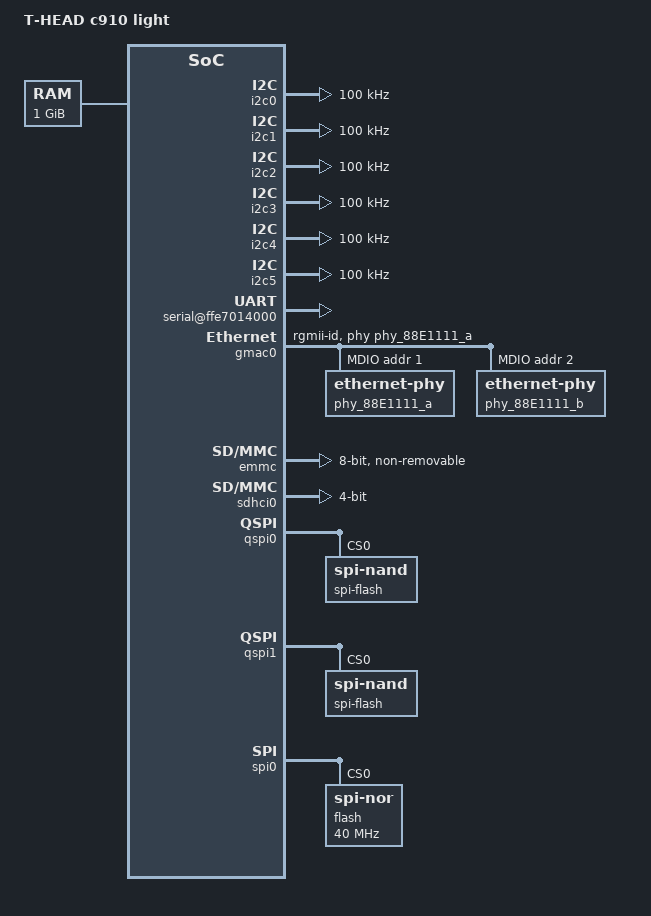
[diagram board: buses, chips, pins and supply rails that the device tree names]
/dts-v1/;
/ {
	model = "T-HEAD c910 light";
	compatible = "thead,c910_light";
	#address-cells = <2>;
	#size-cells = <2>;

	memory@0 {
		device_type = "memory";
		reg = <0x0 0xc0000000 0x0 0x40000000>;
	};

	aliases {
		spi0 = &spi0;
		spi1 = &qspi0;
		spi2 = &qspi1;
	};

	cpus {
		#address-cells = <1>;
		#size-cells = <0>;
		timebase-frequency = <3000000>;
		u-boot,dm-pre-reloc;
		cpu@0 {
			device_type = "cpu";
			reg = <0>;
			status = "okay";
			compatible = "riscv";
			riscv,isa = "rv64imafdcvsu";
			mmu-type = "riscv,sv39";
			u-boot,dm-pre-reloc;
		};
	};

	soc {
		#address-cells = <2>;
		#size-cells = <2>;
		compatible = "simple-bus";
		ranges;
		u-boot,dm-pre-reloc;

		dummy_apb: apb-clock {
			compatible = "fixed-clock";
			clock-frequency = <62500000>;
			clock-output-names = "dummy_apb";
			#clock-cells = <0>;
			u-boot,dm-pre-reloc;
		};

		dummy_ahb: ahb-clock {
			compatible = "fixed-clock";
			clock-frequency = <250000000>;
			clock-output-names = "core";
			#clock-cells = <0>;
			u-boot,dm-pre-reloc;
		};

		dummy_spi: spi-clock {
			compatible = "fixed-clock";
			clock-frequency = <396000000>;
			clock-output-names = "dummy_spi";
			#clock-cells = <0>;
			u-boot,dm-pre-reloc;
		};

		dummy_qspi0: qspi0-clock {
			compatible = "fixed-clock";
			clock-frequency = <792000000>;
			clock-output-names = "dummy_qspi0";
			#clock-cells = <0>;
			u-boot,dm-pre-reloc;
		};

		dummy_uart_sclk: uart-sclk-clock {
			compatible = "fixed-clock";
			clock-frequency = <100000000>;
			clock-output-names = "dummy_uart_sclk";
			#clock-cells = <0>;
			u-boot,dm-pre-reloc;
		};

		dummy_i2c_icclk: i2c-icclk-clock {
			compatible = "fixed-clock";
			clock-frequency = <50000000>;
			clock-output-names = "dummy_i2c_icclk";
			#clock-cells = <0>;
			u-boot,dm-pre-reloc;
		};

		i2c0: i2c@ffe7f20000 {
			compatible = "snps,designware-i2c";
			reg = <0xff 0xe7f20000 0x0 0x4000>;
			clocks = <&dummy_i2c_icclk>;
			clock-frequency = <100000>;

			#address-cells = <1>;
			#size-cells = <0>;
		};

		i2c1: i2c@ffe7f24000{
			compatible = "snps,designware-i2c";
			reg = <0xff 0xe7f24000 0x0 0x4000>;
			clocks = <&dummy_i2c_icclk>;
			clock-frequency = <100000>;

			#address-cells = <1>;
			#size-cells = <0>;
		};

		i2c2: i2c@ffec00c000{
			compatible = "snps,designware-i2c";
			reg = <0xff 0xec00c000 0x0 0x4000>;
			clocks = <&dummy_i2c_icclk>;
			clock-frequency = <100000>;

			#address-cells = <1>;
			#size-cells = <0>;
		};

		i2c3: i2c@ffec014000{
			compatible = "snps,designware-i2c";
			reg = <0xff 0xec014000 0x0 0x4000>;
			clocks = <&dummy_i2c_icclk>;
			clock-frequency = <100000>;

			#address-cells = <1>;
			#size-cells = <0>;
		};

		i2c4: i2c@ffe7f28000{
			compatible = "snps,designware-i2c";
			reg = <0xff 0xe7f28000 0x0 0x4000>;
			clocks = <&dummy_i2c_icclk>;
			clock-frequency = <100000>;

			#address-cells = <1>;
			#size-cells = <0>;
		};

		i2c5: i2c@fff7f2c000{
			compatible = "snps,designware-i2c";
			reg = <0xff 0xf7f2c000 0x0 0x4000>;
			clocks = <&dummy_i2c_icclk>;
			clock-frequency = <100000>;

			#address-cells = <1>;
			#size-cells = <0>;
		};

		serial@ffe7014000 {
			compatible = "snps,dw-apb-uart";
			reg = <0xff 0xe7014000 0x0 0x400>;
			clocks = <&dummy_uart_sclk>;
			clock-frequency = <100000000>;
			clock-names = "baudclk";
			reg-shift = <2>;
			reg-io-width = <4>;
			u-boot,dm-pre-reloc;
		};

		gmac0: ethernet@ffe7070000 {
			compatible = "snps,dwmac";
			reg = <0xff 0xe7070000 0x0 0x2000>;
			clocks = <&dummy_apb>;
			clock-names = "stmmaceth";
			snps,pbl = <32>;
			snps,fixed-burst;

			phy-mode = "rgmii-id";
			phy-handle = <&phy_88E1111_a>;
			status = "okay";
			mdio0 {
				#address-cells = <1>;
				#size-cells = <0>;
				compatible = "snps,dwmac-mdio";

				phy_88E1111_a: ethernet-phy@1 {
					reg = <0x1>;
				};

				phy_88E1111_b: ethernet-phy@2 {
					reg = <0x2>;
				};
			};
		};

		gmac1: ethernet@ffe7060000 {
			compatible = "snps,dwmac";
			reg = <0xff 0xe7060000 0x0 0x2000>;
			clocks = <&dummy_apb>;
			clock-names = "stmmaceth";
			snps,pbl = <32>;
			snps,fixed-burst;
			phy-mode = "rgmii-id";
			phy-handle = <&phy_88E1111_b>;
			status = "disabled";
		};

		emmc: sdhci@ffe7080000 {
			compatible = "snps,dwcmshc-sdhci";
			reg = <0xff 0xe7080000 0x0 0x10000>;
			index = <0x0>;
			clocks = <&dummy_ahb>;
			clock-frequency = <198000000>;
			clock-names = "core";
			max-frequency = <198000000>;
			sdhci-caps-mask = <0x0 0x1000000>;
			mmc-hs400-1_8v;
			non-removable;
			no-sdio;
			no-sd;
			bus-width = <8>;
			voltage= "1.8v";
			pull_up;
			io_fixed_1v8;
			fifo-mode;
			u-boot,dm-pre-reloc;
		};

		sdhci0: sd@ffe7090000 {
			compatible = "snps,dwcmshc-sdhci";
			reg = <0xff 0xe7090000 0x0 0x10000>;
			index = <0x1>;
			clocks = <&dummy_ahb>;
			clock-frequency = <198000000>;
			max-frequency = <198000000>;
			sd-uhs-sdr104;
			pull_up;
			clock-names = "core";
			bus-width = <4>;
			voltage= "3.3v";
		};

		qspi0: spi@ffea000000 {
			compatible = "snps,dw-apb-ssi-quad";
			reg = <0xff 0xea000000 0x0 0x1000>;
			clocks = <&dummy_qspi0>;
			num-cs = <1>;
			cs-gpio = <&gpio2_porta 3 0>; // GPIO_ACTIVE_HIGH: 0
			spi-max-frequency = <100000000>;
			#address-cells = <1>;
			#size-cells =<0>;
			spi-flash@0 {
				#address-cells = <1>;
				#size-cells = <1>;
				compatible = "spi-nand";
				spi-tx-bus-width = <4>;
				spi-rx-bus-width = <4>;
				reg = <0>;
			};
		};

		qspi1: spi@fff8000000 {
			compatible = "snps,dw-apb-ssi-quad";
			reg = <0xff 0xf8000000 0x0 0x1000>;
			clocks = <&dummy_spi>;
			num-cs = <1>;
			cs-gpio = <&gpio0_porta 1 0>; // GPIO_ACTIVE_HIGH: 0
			spi-max-frequency = <66000000>;
			#address-cells = <1>;
			#size-cells =<0>;
			spi-flash@0 {
				#address-cells = <1>;
				#size-cells = <1>;
				compatible = "spi-nand";
				spi-tx-bus-width = <4>;
				spi-rx-bus-width = <4>;
				reg = <0>;
			};
		};

		spi0: spi@ffe700c000 {
			compatible = "snps,dw-apb-ssi";
			reg = <0xff 0xe700c000 0x0 0x1000>;
			clocks = <&dummy_spi>;
			cs-gpio = <&gpio2_porta 15 0>;
			spi-max-frequency = <100000000>;
			#address-cells = <1>;
			#size-cells = <0>;
			flash@0 {
				compatible = "jedec,spi-nor";
				reg = <0>;
				spi-max-frequency = <40000000>;
			};
		};

		gpio2: gpio@ffe7f34000 {
			compatible = "snps,dw-apb-gpio";
			reg = <0xff 0xe7f34000 0x0 0x1000>;
			clocks = <&dummy_apb>;
			#address-cells = <1>;
			#size-cells = <0>;
			gpio2_porta: gpio-controller@0 {
				compatible = "snps,dw-apb-gpio-port";
				gpio-controller;
				#gpio-cells = <2>;
				snps,nr-gpios = <32>;
				reg = <0>;
			};
		};

		gpio0: gpio@ffec005000 {
			compatible = "snps,dw-apb-gpio";
			reg = <0xff 0xec005000 0x0 0x1000>;
			clocks = <&dummy_apb>;
			#address-cells = <1>;
			#size-cells = <0>;
			gpio0_porta: gpio-controller@0 {
				compatible = "snps,dw-apb-gpio-port";
				gpio-controller;
				#gpio-cells = <2>;
				snps,nr-gpios = <32>;
				reg = <0>;
			};
		};

		axiscr {
			compatible = "thead,axiscr";
			reg = <0xff 0xff004000 0x0 0x1000>;
			lock-read = "okay";
			lock-write = "okay";
			#address-cells = <2>;
			#size-cells = <2>;
			u-boot,dm-pre-reloc;
			axiscr0: axisrc@0 {
				device_type = "axiscr";
				region = <0x00 0x00000000 0x00 0x80000000>; // 4KB align
				status = "disabled";
				#address-cells = <2>;
				#size-cells = <2>;
				u-boot,dm-pre-reloc;
			};
			axiscr1: axisrc@1 {
				device_type = "axiscr";
				region = <0x00 0x80000000 0x00 0x80000000>; // 4KB align
				status = "disabled";
				#address-cells = <2>;
				#size-cells = <2>;
				u-boot,dm-pre-reloc;
			};
			axiscr2: axisrc@2 {
				device_type = "axiscr";
				region = <0x01 0x00000000 0x00 0x80000000>; // 4KB align
				status = "disabled";
				#address-cells = <2>;
				#size-cells = <2>;
				u-boot,dm-pre-reloc;
			};
		};

		axiparity {
			compatible = "thead,axiparity";
			reg = <0xff 0xff00c000 0x0 0x1000>;
			lock = "okay";
			#address-cells = <2>;
			#size-cells = <2>;
			u-boot,dm-pre-reloc;
			axiparity0: axiparity@0 {
				device_type = "axiparity";
				region = <0x00 0x00000000 0x01 0x0000000>; // 4KB align
				status = "disabled";
				#address-cells = <2>;
				#size-cells = <2>;
				u-boot,dm-pre-reloc;
			};
			axiparity1: axiparity@1 {
				device_type = "axiparity";
				region = <0x01 0x00000000 0x01 0x00000000>; // 4KB align
				status = "disabled";
				#address-cells = <2>;
				#size-cells = <2>;
				u-boot,dm-pre-reloc;
			};
		};
	};

	chosen {
		bootargs = "console=ttyS0,115200";
		stdout-path = "/soc/serial@ffe7014000:115200";
	};
};
